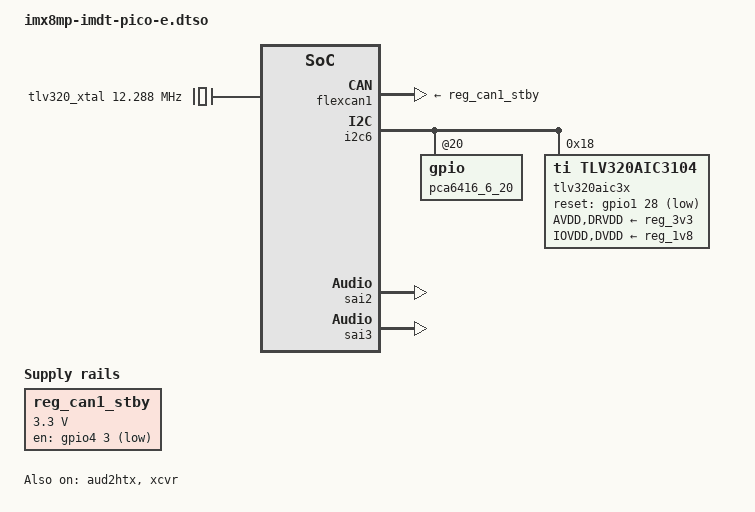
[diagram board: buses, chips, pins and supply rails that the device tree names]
// SPDX-License-Identifier: (GPL-2.0+ OR MIT)
/*
 * Copyright 2019 NXP
 * Copyright 2025 IMD Technologies
 */
#include <dt-bindings/gpio/gpio.h>
#include "imx8mp-pinfunc.h"

/dts-v1/;
/plugin/;

/ {

	reg_can1_stby: regulator-can1-stby {
		compatible = "regulator-fixed";
		regulator-name = "can1-stby";
		pinctrl-names = "default";
		pinctrl-0 = <&pinctrl_flexcan1_reg>;
		regulator-min-microvolt = <3300000>;
		regulator-max-microvolt = <3300000>;
		gpio = <&gpio4 3 GPIO_ACTIVE_LOW>;
	};

	sound-xcvr {
		compatible = "fsl,imx-audio-xcvr";
		model = "imx-audio-xcvr";
		cpu-dai = <&xcvr>;
	};


	tlv320_xtal: tlv320_xtal {
		compatible = "fixed-clock";
		#clock-cells = <0>;
		clock-frequency = <12288000>;
	};

	sound-tlv320{
		compatible = "simple-audio-card";
		simple-audio-card,name = "sound-card-tlv320aic3101";
		simple-audio-card,format = "i2s";
		simple-audio-card,bitclock-master = <&dailink_master>;
		simple-audio-card,frame-master = <&dailink_master>;
		simple-audio-card,widgets =
			"Microphone", "Microphone Jack",
			"Headphone", "Headphone Jack";
		simple-audio-card,routing =
			"Headphone Jack", "HPLOUT",
			"Headphone Jack", "HPROUT",
			"MIC2R", "Microphone Jack",
			"Microphone Jack", "Mic Bias";

		simple-audio-card,cpu {
			sound-dai = <&sai3>;
		};

		dailink_master: simple-audio-card,codec {
			sound-dai = <&tlv320aic3x>;
		};
	};
};

&{/} {
	model = "IMD Technologies Pico-E Board";
	compatible = "imdt,imx8mp-imdt-pico-e", "fsl,imx8mp";
};

&aud2htx {
	status = "okay";
};

&flexcan1 {
	pinctrl-names = "default";
	pinctrl-0 = <&pinctrl_flexcan1>;
	xceiver-supply = <&reg_can1_stby>;
	status = "okay";
};

&i2c6 {
	status = "okay";
	pca6416_6_20: gpio@20 {

		gpio-line-names =
			"RGMII_CONN_GPIO0",
			"RGMII_CONN_GPIO1",
			"GBE_RSTn",
			"GBE_nINT",
			"TP657",
			"RS232_DIS_3V3",
			"RS232_INVALIDn",
			"TP658",

			"PCIe_SEL_3V3",
			"D_AMP_FAULT",
			"D_AMP_Mute3V3",
			"HDMI_DISABLE",
			"HDMI_FAULT",
			"UART_SEL0",
			"UART_SEL1",
			"TP659";

		uart-sel0-hog {
			gpio-hog;
			gpios = <13 GPIO_ACTIVE_HIGH>;
			output-high;
		};

		uart-sel1-hog {
			gpio-hog;
			gpios = <14 GPIO_ACTIVE_HIGH>;
			output-low;
		};

		rs-dis-hog {
			gpio-hog;
			gpios = <5 GPIO_ACTIVE_HIGH>;
			output-low;
		};
	};

	tlv320aic3x: codec@18 {
		#sound-dai-cells = <0>;
		/* Our codec is 3101. much closer to the 3104, than using 3x*/
		compatible = "ti,tlv320aic3104";
		pinctrl-names = "default";
		pinctrl-0 = <&pinctrl_aud_codec_nrst>;
		clocks = <&tlv320_xtal>;
		reg = <0x18>;
		reset-gpios = <&gpio1 28 GPIO_ACTIVE_LOW>;
		ai3x-micbias-vg = <1>;
		AVDD-supply = <&reg_3v3>;
		IOVDD-supply = <&reg_1v8>;
		DRVDD-supply = <&reg_3v3>;
		DVDD-supply = <&reg_1v8>;
	};
};


&sai2 {
	#sound-dai-cells = <0>;
	status = "okay";
};


&sai3 {
	#sound-dai-cells = <0>;
	pinctrl-names = "default";
	pinctrl-0 = <&pinctrl_sai3>;
	/*fsl,sai-mclk-direction-output;*/
	/*fsl,sai-synchronous;*/
	status = "okay";
};

&xcvr {
	#sound-dai-cells = <0>;
	status = "okay";
};

&iomuxc {

	pinctrl_flexcan1: flexcan1grp {
		fsl,pins = <
			MX8MP_IOMUXC_SAI5_RXD2__CAN1_RX          0x154
			MX8MP_IOMUXC_SAI5_RXD1__CAN1_TX          0x154
		>;
	};


	pinctrl_flexcan1_reg: flexcan1reggrp {
		fsl,pins = <
			MX8MP_IOMUXC_SAI1_RXD1__GPIO4_IO03	0x154	/* CAN1_STBY */
		>;
	};



	pinctrl_sai3: sai3_grp {
		fsl,pins = <
			MX8MP_IOMUXC_SAI3_TXFS__AUDIOMIX_SAI3_TX_SYNC		0xd6
			MX8MP_IOMUXC_SAI3_TXC__AUDIOMIX_SAI3_TX_BCLK		0xd6
			MX8MP_IOMUXC_SAI3_RXD__AUDIOMIX_SAI3_RX_DATA00		0xd6
			MX8MP_IOMUXC_SAI3_TXD__AUDIOMIX_SAI3_TX_DATA00		0xd6
			MX8MP_IOMUXC_SAI3_MCLK__AUDIOMIX_SAI3_MCLK		0xd6
		>;
	};

	pinctrl_aud_codec_nrst: aud_codec_nrst_grp {
		fsl,pins = <
			MX8MP_IOMUXC_ENET_RD2__GPIO1_IO28	0x6
		>;
	};

};

&gpio4 {
       gpio-line-names =
       "","","","","","","","","","",
       "","","","","","","","","","",
       "ext_modem_sim_select","","","","","","","","","",
       "","";
};
